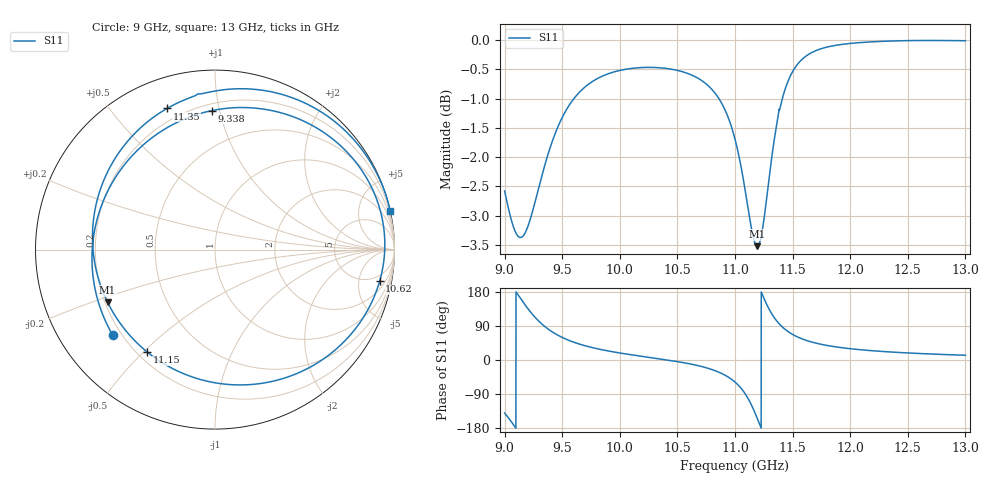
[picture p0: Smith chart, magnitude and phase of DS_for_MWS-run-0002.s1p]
! TOUCHSTONE file generated by CST DESIGN STUDIO
! Date and time: Tue Feb  4 13:54:22 2025
! Project name: C:\Work\MatlabApps\UnitCellOptimizationMatlab\CST\unitcell.cst
! Tree item: Tasks\Sweep1\SPara1\S-Parameters
! Header version: 2024
! Port assignment regex: !\s*Touchstone port\s*([0-9]+)\s*=\s*(CST MWS port|CST DES external port|CST DES block port)\s*(.+)\s* \(\"(.*)\"\)(\s*mode\s*([0-9]+))?.*
! Touchstone port assignment:
! Touchstone port 1 = CST DES external port 1 ("")
# GHz S MA R 50
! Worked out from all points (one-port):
!   4001 points, 9 GHz to 13 GHz, reference 50 ohm
!   lowest |S11| = -3.5 dB at 11.19 GHz (marker M1), VSWR 5.00, Z = 10.5 - j11.1 ohm
!   |S11| at or under -10 dB: nowhere
!   S11 on the Smith chart (normalised r, x): 9 GHz: 0.17, -0.36; 9.338 GHz: 0.24, +0.95; 10.62 GHz: 3.38, -9.32; 11.15 GHz: 0.24, -0.51; 11.35 GHz: 0.14, +0.71; 13 GHz: 0.04, +9.11
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9  0.7431 -139.9
9.076  0.6927 -170.3
9.142  0.6781 160.8
9.24  0.7124 121.2
9.338  0.775 91.2
9.5  0.8588 59.6
9.709  0.9139 36.7
10  0.9422 18.5
10.5  0.9423 -4.2
10.619  0.9341 -10.8
10.851  0.8943 -31.0
10.932  0.8633 -43.3
11  0.823 -58.2
11.086  0.7464 -88.1
11.119  0.7124 -104.6
11.15  0.6844 -123.4
11.193  0.6666 -153.9
11.227  0.6794 -179.6
11.26  0.7131 156.7
11.305  0.7747 129.2
11.348  0.8307 108.7
11.411  0.8913 87.1
11.5  0.94 67.4
11.586  0.9638 55.3
11.692  0.9787 45.3
12  0.9937 29.8
12.5  0.9992 18.6
13  0.999 12.5
